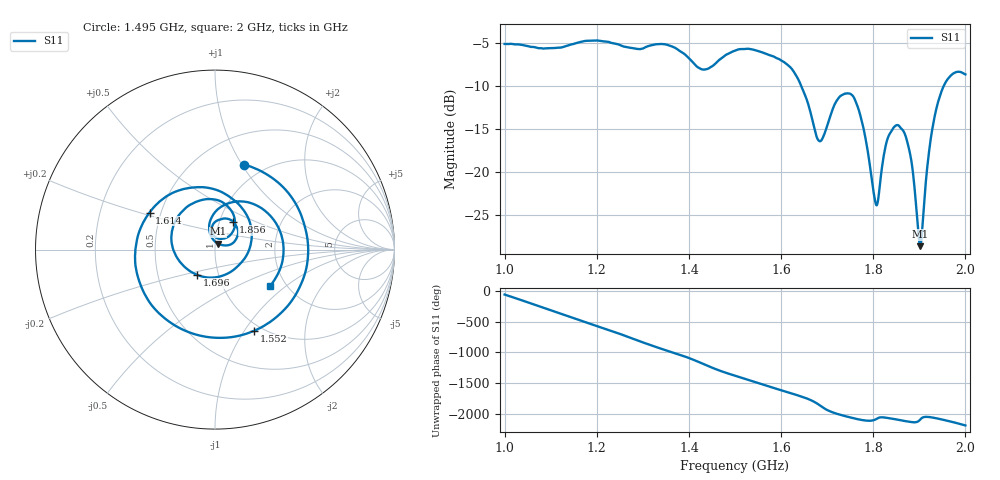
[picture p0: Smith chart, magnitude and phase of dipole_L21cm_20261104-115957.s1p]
! Dipole length 21 cm, measured 20261104-115957
# GHZ S RI R 50.000000000000
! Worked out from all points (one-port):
!   1001 points, 1 GHz to 2 GHz, reference 50 ohm
!   lowest |S11| = -28.6 dB at 1.902 GHz (marker M1), VSWR 1.08, Z = 51.6 + j3.41 ohm
!   |S11| at or under -10 dB: 1.644 GHz to 1.953 GHz (309.4 MHz wide, 17.2 % of centre)
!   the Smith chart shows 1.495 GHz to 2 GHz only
!   S11 on the Smith chart (normalised r, x): 1.495 GHz: 0.81, +1.02; 1.552 GHz: 0.91, -1.11; 1.614 GHz: 0.43, +0.22; 1.696 GHz: 0.79, -0.23; 1.856 GHz: 1.16, +0.37; 2 GHz: 1.66, -0.78
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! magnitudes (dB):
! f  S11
! 1 GHz  -5.1
! 1.125 GHz  -5.5
! 1.25 GHz  -5.3
! 1.375 GHz  -5.7
! 1.432 GHz  -8.1
! 1.495 GHz  -6.0
! 1.5 GHz  -5.9
! 1.552 GHz  -6.0
! 1.614 GHz  -7.6
! 1.625 GHz  -8.1
! 1.654 GHz  -11.4
! 1.68 GHz  -16.2
! 1.696 GHz  -15.3
! 1.722 GHz  -11.6
! 1.75 GHz  -10.9
! 1.776 GHz  -14.3
! 1.806 GHz  -23.8
! 1.831 GHz  -16.1
! 1.856 GHz  -14.6
! 1.875 GHz  -16.7
! 1.884 GHz  -19.1
! 1.898 GHz  -27.0
! 1.902 GHz  -28.6
! 1.906 GHz  -26.8
! 1.923 GHz  -16.8
! 1.941 GHz  -11.8
! 1.967 GHz  -8.9
! 2 GHz  -8.7
